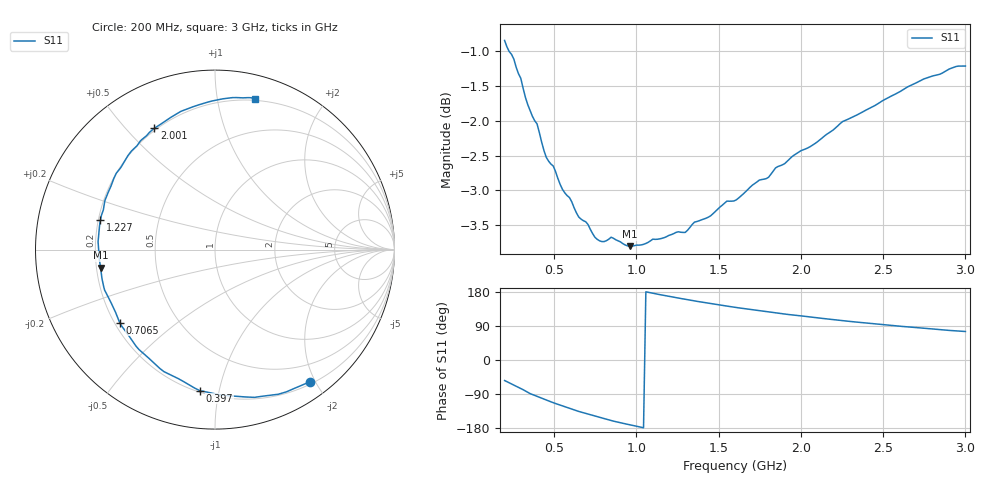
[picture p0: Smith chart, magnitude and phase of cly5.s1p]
#Hz S ri R 50
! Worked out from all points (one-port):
!   200 points, 200 MHz to 3 GHz, reference 50 ohm
!   lowest |S11| = -3.8 dB at 959.8 MHz (marker M1), VSWR 4.64, Z = 10.8 - j3.76 ohm
!   |S11| at or under -10 dB: nowhere
!   S11 on the Smith chart (normalised r, x): 200 MHz: 0.23, -1.93; 397 MHz: 0.21, -0.88; 706.5 MHz: 0.22, -0.32; 1.227 GHz: 0.21, +0.12; 2.001 GHz: 0.19, +0.60; 3 GHz: 0.19, +1.28
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2e8  0.5313 -0.7355
2.56281e8  0.3525 -0.8059
2.98492e8  0.22 -0.8232
3.54774e8  0.0194 -0.8077
3.96985e8  -0.0847 -0.7857
4.53266e8  -0.2032 -0.7195
4.95477e8  -0.2843 -0.68
5.51759e8  -0.3673 -0.6064
6.0804e8  -0.4409 -0.5367
6.50251e8  -0.4848 -0.4731
7.06533e8  -0.5311 -0.407
7.76884e8  -0.5703 -0.3144
8.47236e8  -0.6149 -0.2259
9.03518e8  -0.6297 -0.1615
9.59799e8  -0.6374 -0.1013
1.1005e9  -0.6515 0.0441
1.22714e9  -0.6383 0.1636
1.25528e9  -0.6329 0.1906
1.39598e9  -0.6002 0.307
1.55075e9  -0.55 0.4255
1.60704e9  -0.522 0.4615
1.84623e9  -0.4151 0.6061
1.95879e9  -0.3585 0.6592
2.00101e9  -0.3373 0.6766
2.31055e9  -0.1556 0.7835
2.66231e9  0.0459 0.8404
2.90151e9  0.1786 0.8467
3e9  0.2222 0.8408
